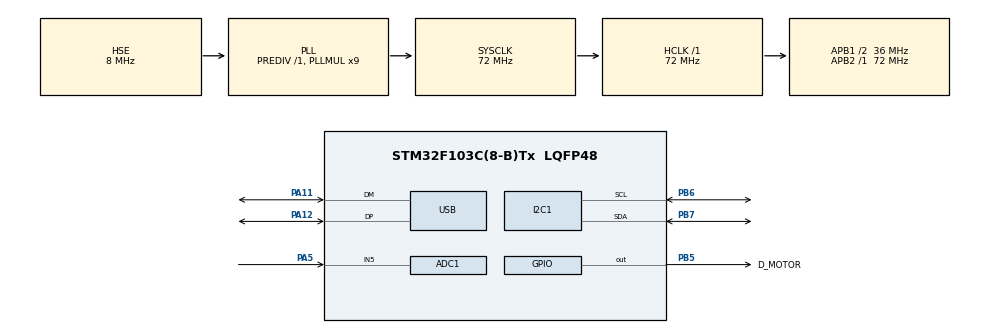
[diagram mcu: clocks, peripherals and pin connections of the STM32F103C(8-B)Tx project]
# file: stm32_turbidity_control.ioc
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ADC1.Channel-0\#ChannelRegularConversion=ADC_CHANNEL_5
ADC1.ContinuousConvMode=ENABLE
ADC1.NbrOfConversionFlag=1
ADC1.Rank-0\#ChannelRegularConversion=1
ADC1.SamplingTime-0\#ChannelRegularConversion=ADC_SAMPLETIME_239CYCLES_5
ADC1.master=1
Dma.ADC1.0.Direction=DMA_PERIPH_TO_MEMORY
Dma.ADC1.0.Instance=DMA1_Channel1
Dma.ADC1.0.MemDataAlignment=DMA_MDATAALIGN_HALFWORD
Dma.ADC1.0.MemInc=DMA_MINC_ENABLE
Dma.ADC1.0.Mode=DMA_CIRCULAR
Dma.ADC1.0.PeriphDataAlignment=DMA_PDATAALIGN_HALFWORD
Dma.ADC1.0.PeriphInc=DMA_PINC_DISABLE
Dma.ADC1.0.Priority=DMA_PRIORITY_MEDIUM
Dma.Request0=ADC1
FREERTOS.Tasks01=defaultTask,0,1024,StartDefaultTask,Default,NULL,Dynamic,NULL,NULL;usbTask,0,128,StartUsbTask,Default,NULL,Dynamic,NULL,NULL;turbidityTask,-3,256,StartTurbidityTask,Default,NULL,Dynamic,NULL,NULL
FREERTOS.configENABLE_FPU=1
FREERTOS.configTOTAL_HEAP_SIZE=8192
I2C1.I2C_Mode=I2C_Fast
Mcu.Family=STM32F1
Mcu.Name=STM32F103C(8-B)Tx
Mcu.Package=LQFP48
NVIC.ADC1_2_IRQn=true\:5\:0\:false\:false\:true\:true\:true\:true\:true
NVIC.DMA1_Channel1_IRQn=true\:5\:0\:false\:false\:true\:true\:false\:true\:true
NVIC.I2C1_ER_IRQn=true\:5\:0\:false\:false\:true\:true\:true\:true\:true
NVIC.I2C1_EV_IRQn=true\:5\:0\:false\:false\:true\:true\:true\:true\:true
NVIC.PriorityGroup=NVIC_PRIORITYGROUP_4
NVIC.USB_HP_CAN1_TX_IRQn=true\:5\:0\:false\:false\:true\:true\:true\:true\:true
NVIC.USB_LP_CAN1_RX0_IRQn=true\:5\:0\:false\:false\:true\:true\:true\:true\:true
PA11.Mode=Device
PA11.Signal=USB_DM
PA12.Mode=Device
PA12.Signal=USB_DP
PA13.Mode=Serial_Wire
PA13.Signal=SYS_JTMS-SWDIO
PA14.Mode=Serial_Wire
PA14.Signal=SYS_JTCK-SWCLK
PA5.Signal=ADCx_IN5
PB5.GPIO_Label=D_MOTOR
PB5.GPIO_Speed=GPIO_SPEED_FREQ_MEDIUM
PB5.PinState=GPIO_PIN_SET
PB5.Signal=GPIO_Output
PB6.Mode=I2C
PB6.Signal=I2C1_SCL
PB7.Mode=I2C
PB7.Signal=I2C1_SDA
PD0-OSC_IN.Mode=HSE-External-Oscillator
PD0-OSC_IN.Signal=RCC_OSC_IN
PD1-OSC_OUT.Mode=HSE-External-Oscillator
PD1-OSC_OUT.Signal=RCC_OSC_OUT
ProjectManager.HeapSize=0x200
ProjectManager.StackSize=0x400
ProjectManager.TargetToolchain=STM32CubeIDE
RCC.ADCPresc=RCC_ADCPCLK2_DIV6
RCC.AHBFreq_Value=72000000
RCC.APB1CLKDivider=RCC_HCLK_DIV2
RCC.APB1Freq_Value=36000000
RCC.APB1TimFreq_Value=72000000
RCC.APB2Freq_Value=72000000
RCC.APB2TimFreq_Value=72000000
RCC.HCLKFreq_Value=72000000
RCC.PLLMUL=RCC_PLL_MUL9
RCC.PLLSourceVirtual=RCC_PLLSOURCE_HSE
RCC.SYSCLKFreq_VALUE=72000000
RCC.SYSCLKSource=RCC_SYSCLKSOURCE_PLLCLK
RCC.USBFreq_Value=48000000
RCC.USBPrescaler=RCC_USBCLKSOURCE_PLL_DIV1_5
SH.ADCx_IN5.0=ADC1_IN5,IN5
USB_DEVICE.CLASS_NAME_FS=CDC
USB_DEVICE.VirtualMode=Cdc
USB_DEVICE.VirtualModeFS=Cdc_FS
VP_FREERTOS_VS_CMSIS_V1.Mode=CMSIS_V1
VP_USB_DEVICE_VS_USB_DEVICE_CDC_FS.Mode=CDC_FS
board=custom

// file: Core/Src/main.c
/* USER CODE BEGIN Header */
/**
 ******************************************************************************
 * @file           : main.c
 * @brief          : Main program body
 ******************************************************************************
 * @attention
 *
 * Copyright (c) 2026 STMicroelectronics.
 * All rights reserved.
 *
 * This software is licensed under terms that can be found in the LICENSE file
 * in the root directory of this software component.
 * If no LICENSE file comes with this software, it is provided AS-IS.
 *
 ******************************************************************************
 */
/* USER CODE END Header */
#include "main.h"
#include "cmsis_os.h"
#include "usb_device.h"

/* USER CODE BEGIN Includes */
#include "i2c_lcd.h"
#include <stdio.h>
#include "math.h"
/* USER CODE END Includes */

/* USER CODE BEGIN PTD */
#define BUFFER_CONVERSION_SIZE 1500
typedef struct {
	uint16_t buffer[BUFFER_CONVERSION_SIZE];
	uint16_t buffer_counter;
	uint32_t buffer_total;
	float volt;
	float volt_mod;
	float value;
	uint32_t count;
}AdcTypedef_t;
/* USER CODE END PTD */

ADC_HandleTypeDef hadc1;
DMA_HandleTypeDef hdma_adc1;

I2C_HandleTypeDef hi2c1;

osThreadId defaultTaskHandle;
osThreadId usbTaskHandle;
osThreadId turbidityTaskHandle;
/* USER CODE BEGIN PV */

HAL_StatusTypeDef I2c_lcd;
/* USER CODE END PV */

void SystemClock_Config(void);
static void MX_GPIO_Init(void);
static void MX_DMA_Init(void);
static void MX_I2C1_Init(void);
static void MX_ADC1_Init(void);
void StartDefaultTask(void const * argument);
void StartUsbTask(void const * argument);
void StartTurbidityTask(void const * argument);

/* USER CODE BEGIN PFP */
void revive_I2C_rtos(I2C_HandleTypeDef *hi2c,
		GPIO_TypeDef *GPIOx,
		uint16_t scl_pin,
		uint16_t sda_pin)
{
	GPIO_InitTypeDef GPIO_InitStruct = {0};

	/* 1. Abort & DeInit I2C + DMA */
	HAL_I2C_DeInit(hi2c);

	if (hi2c->hdmarx)
	{
		HAL_DMA_Abort(hi2c->hdmarx);
		HAL_DMA_DeInit(hi2c->hdmarx);
	}

	/* 2. Enable GPIO clock (manual, user must ensure correct RCC) */
	/* NOTE: Pastikan RCC GPIOx sudah di-enable sebelum panggil fungsi ini */

	/* 3. Set SDA & SCL sebagai GPIO Open-Drain */
	GPIO_InitStruct.Pin   = scl_pin | sda_pin;
	GPIO_InitStruct.Mode  = GPIO_MODE_OUTPUT_OD;
	GPIO_InitStruct.Pull  = GPIO_NOPULL;
	GPIO_InitStruct.Speed = GPIO_SPEED_FREQ_HIGH;
	HAL_GPIO_Init(GPIOx, &GPIO_InitStruct);

	/* 4. Force SDA & SCL HIGH */
	HAL_GPIO_WritePin(GPIOx, scl_pin | sda_pin, GPIO_PIN_SET);
	osDelay(1);

	/* 5. Clock pulse SCL untuk release slave (9 pulse I2C spec) */
	for (uint8_t i = 0; i < 9; i++)
	{
		HAL_GPIO_WritePin(GPIOx, scl_pin, GPIO_PIN_RESET);
		osDelay(1);
		HAL_GPIO_WritePin(GPIOx, scl_pin, GPIO_PIN_SET);
		osDelay(1);
	}

	/* 6. Pastikan SDA released */
	HAL_GPIO_WritePin(GPIOx, sda_pin, GPIO_PIN_SET);
	osDelay(1);

	/* 7. Kembalikan pin ke AF Open-Drain (I2C) */
	GPIO_InitStruct.Mode = GPIO_MODE_AF_OD;
	HAL_GPIO_Init(GPIOx, &GPIO_InitStruct);

	/* 8. Re-init I2C */
	HAL_I2C_Init(hi2c);
}
/* USER CODE END PFP */

int main(void)
{

  /* MCU Configuration--------------------------------------------------------*/

  /* Reset of all peripherals, Initializes the Flash interface and the Systick. */
  HAL_Init();

  /* Configure the system clock */
  SystemClock_Config();

  /* Initialize all configured peripherals */
  MX_GPIO_Init();
  MX_DMA_Init();
  MX_I2C1_Init();
  MX_ADC1_Init();

  /* Create the thread(s) */
  /* definition and creation of defaultTask */
  osThreadDef(defaultTask, StartDefaultTask, osPriorityNormal, 0, 1024);
  defaultTaskHandle = osThreadCreate(osThread(defaultTask), NULL);

  /* definition and creation of usbTask */
  osThreadDef(usbTask, StartUsbTask, osPriorityNormal, 0, 128);
  usbTaskHandle = osThreadCreate(osThread(usbTask), NULL);

  /* definition and creation of turbidityTask */
  osThreadDef(turbidityTask, StartTurbidityTask, osPriorityIdle, 0, 256);
  turbidityTaskHandle = osThreadCreate(osThread(turbidityTask), NULL);

  /* Start scheduler */
  osKernelStart();

  /* We should never get here as control is now taken by the scheduler */

  /* Infinite loop */
	while (1)
	{

	}
}

void SystemClock_Config(void)
{
  RCC_OscInitTypeDef RCC_OscInitStruct = {0};
  RCC_ClkInitTypeDef RCC_ClkInitStruct = {0};
  RCC_PeriphCLKInitTypeDef PeriphClkInit = {0};

  /** Initializes the RCC Oscillators according to the specified parameters
  * in the RCC_OscInitTypeDef structure.
  */
  RCC_OscInitStruct.OscillatorType = RCC_OSCILLATORTYPE_HSE;
  RCC_OscInitStruct.HSEState = RCC_HSE_ON;
  RCC_OscInitStruct.HSEPredivValue = RCC_HSE_PREDIV_DIV1;
  RCC_OscInitStruct.HSIState = RCC_HSI_ON;
  RCC_OscInitStruct.PLL.PLLState = RCC_PLL_ON;
  RCC_OscInitStruct.PLL.PLLSource = RCC_PLLSOURCE_HSE;
  RCC_OscInitStruct.PLL.PLLMUL = RCC_PLL_MUL9;
  if (HAL_RCC_OscConfig(&RCC_OscInitStruct) != HAL_OK)
  {
    Error_Handler();
  }

  /** Initializes the CPU, AHB and APB buses clocks
  */
  RCC_ClkInitStruct.ClockType = RCC_CLOCKTYPE_HCLK|RCC_CLOCKTYPE_SYSCLK
                              |RCC_CLOCKTYPE_PCLK1|RCC_CLOCKTYPE_PCLK2;
  RCC_ClkInitStruct.SYSCLKSource = RCC_SYSCLKSOURCE_PLLCLK;
  RCC_ClkInitStruct.AHBCLKDivider = RCC_SYSCLK_DIV1;
  RCC_ClkInitStruct.APB1CLKDivider = RCC_HCLK_DIV2;
  RCC_ClkInitStruct.APB2CLKDivider = RCC_HCLK_DIV1;

  if (HAL_RCC_ClockConfig(&RCC_ClkInitStruct, FLASH_LATENCY_2) != HAL_OK)
  {
    Error_Handler();
  }
  PeriphClkInit.PeriphClockSelection = RCC_PERIPHCLK_ADC|RCC_PERIPHCLK_USB;
  PeriphClkInit.AdcClockSelection = RCC_ADCPCLK2_DIV6;
  PeriphClkInit.UsbClockSelection = RCC_USBCLKSOURCE_PLL_DIV1_5;
  if (HAL_RCCEx_PeriphCLKConfig(&PeriphClkInit) != HAL_OK)
  {
    Error_Handler();
  }
}

static void MX_ADC1_Init(void)
{

  ADC_ChannelConfTypeDef sConfig = {0};

  /** Common config
  */
  hadc1.Instance = ADC1;
  hadc1.Init.ScanConvMode = ADC_SCAN_DISABLE;
  hadc1.Init.ContinuousConvMode = ENABLE;
  hadc1.Init.DiscontinuousConvMode = DISABLE;
  hadc1.Init.ExternalTrigConv = ADC_SOFTWARE_START;
  hadc1.Init.DataAlign = ADC_DATAALIGN_RIGHT;
  hadc1.Init.NbrOfConversion = 1;
  if (HAL_ADC_Init(&hadc1) != HAL_OK)
  {
    Error_Handler();
  }

  /** Configure Regular Channel
  */
  sConfig.Channel = ADC_CHANNEL_5;
  sConfig.Rank = ADC_REGULAR_RANK_1;
  sConfig.SamplingTime = ADC_SAMPLETIME_239CYCLES_5;
  if (HAL_ADC_ConfigChannel(&hadc1, &sConfig) != HAL_OK)
  {
    Error_Handler();
  }

}

static void MX_I2C1_Init(void)
{

  hi2c1.Instance = I2C1;
  hi2c1.Init.ClockSpeed = 400000;
  hi2c1.Init.DutyCycle = I2C_DUTYCYCLE_2;
  hi2c1.Init.OwnAddress1 = 0;
  hi2c1.Init.AddressingMode = I2C_ADDRESSINGMODE_7BIT;
  hi2c1.Init.DualAddressMode = I2C_DUALADDRESS_DISABLE;
  hi2c1.Init.OwnAddress2 = 0;
  hi2c1.Init.GeneralCallMode = I2C_GENERALCALL_DISABLE;
  hi2c1.Init.NoStretchMode = I2C_NOSTRETCH_DISABLE;
  if (HAL_I2C_Init(&hi2c1) != HAL_OK)
  {
    Error_Handler();
  }

}

static void MX_DMA_Init(void)
{

  /* DMA controller clock enable */
  __HAL_RCC_DMA1_CLK_ENABLE();

  /* DMA interrupt init */
  /* DMA1_Channel1_IRQn interrupt configuration */
  HAL_NVIC_SetPriority(DMA1_Channel1_IRQn, 5, 0);
  HAL_NVIC_EnableIRQ(DMA1_Channel1_IRQn);

}

static void MX_GPIO_Init(void)
{
  GPIO_InitTypeDef GPIO_InitStruct = {0};

  /* GPIO Ports Clock Enable */
  __HAL_RCC_GPIOD_CLK_ENABLE();
  __HAL_RCC_GPIOA_CLK_ENABLE();
  __HAL_RCC_GPIOB_CLK_ENABLE();

  /*Configure GPIO pin Output Level */
  HAL_GPIO_WritePin(D_MOTOR_GPIO_Port, D_MOTOR_Pin, GPIO_PIN_SET);

  /*Configure GPIO pin : D_MOTOR_Pin */
  GPIO_InitStruct.Pin = D_MOTOR_Pin;
  GPIO_InitStruct.Mode = GPIO_MODE_OUTPUT_PP;
  GPIO_InitStruct.Pull = GPIO_NOPULL;
  GPIO_InitStruct.Speed = GPIO_SPEED_FREQ_MEDIUM;
  HAL_GPIO_Init(D_MOTOR_GPIO_Port, &GPIO_InitStruct);

}

/* USER CODE BEGIN 4 */
I2C_LCD_HandleTypeDef g_lcd = {
		.hi2c = &hi2c1,
		.address = 0x4E
};

#define SLAVE_ADDRESS_LCD 0x4E

#define LCD_BACKLIGHT 0x08
#define ENABLE 0x04

#define ADC_TO_VOLT (1.0F/4095.0F) * 3.3F

char buffer[16];

uint32_t count;

volatile uint16_t adc_buffer[1];

AdcTypedef_t g_turbidity;

_Bool motor_state = 0;
_Bool latch_condition = 0;

void HAL_ADC_ConvCpltCallback(ADC_HandleTypeDef* hadc)
{
	if (hadc->Instance == ADC1)
	{
		// data baru siap
		g_turbidity.buffer_total -= g_turbidity.buffer[g_turbidity.buffer_counter];

		g_turbidity.buffer[g_turbidity.buffer_counter] = adc_buffer[0];

		g_turbidity.buffer_total += g_turbidity.buffer[g_turbidity.buffer_counter];

		g_turbidity.buffer_counter++;

		if(g_turbidity.buffer_counter >= (BUFFER_CONVERSION_SIZE)) {
			g_turbidity.buffer_counter = 0;
		}

	}
}

/* USER CODE END 4 */

void StartDefaultTask(void const * argument)
{
  /* init code for USB_DEVICE */
  MX_USB_DEVICE_Init();
  /* USER CODE BEGIN 5 */
	lcd_init(&g_lcd);
	lcd_clear(&g_lcd);
	/* Infinite loop */
	for(;;)
	{
		lcd_gotoxy(&g_lcd, 0, 0);
		sprintf(buffer, "KEKERUHAN:%4.2f   ", g_turbidity.value);
		lcd_puts(&g_lcd, buffer);

		lcd_gotoxy(&g_lcd, 0, 1);

		if(motor_state) {
			sprintf(buffer, "MOTOR: ON  ");
		} else {
			sprintf(buffer, "MOTOR: OFF ");
		}
		lcd_puts(&g_lcd, buffer);

		osDelay(100);
	}
  /* USER CODE END 5 */
}

void StartUsbTask(void const * argument)
{
	for(;;)
	{
		osDelay(1);
	}
}

void StartTurbidityTask(void const * argument)
{
  /* USER CODE BEGIN StartTurbidityTask */
	HAL_ADC_Start_DMA(&hadc1, (uint32_t*)adc_buffer, 1);
	const float multiplier_conversion = 1.0F / BUFFER_CONVERSION_SIZE;
	/* Infinite loop */
	for(;;)
	{
		g_turbidity.volt = (float)g_turbidity.buffer_total * multiplier_conversion * ADC_TO_VOLT;

		g_turbidity.volt_mod = g_turbidity.volt * (1.7F/3.3F) + 2.5;
//		g_turbidity.value = (-1120.4F * powf(g_turbidity.volt_mod, 2))
//				+ (5742.3F * g_turbidity.volt_mod)
//				- 4352.9F;

		g_turbidity.value = (1- (g_turbidity.volt /3.3)) * 100.0F;

		if(g_turbidity.value < 0) g_turbidity.value = 0;

		if(g_turbidity.value < 15) {
			motor_state = 0;
		} else if (g_turbidity.value > 50) {
			motor_state = 1;
		}

		HAL_GPIO_WritePin(D_MOTOR_GPIO_Port, D_MOTOR_Pin, !motor_state);

		osDelay(10);
	}
  /* USER CODE END StartTurbidityTask */
}

void Error_Handler(void)
{
	__disable_irq();
	while (1)
	{
	}
}
